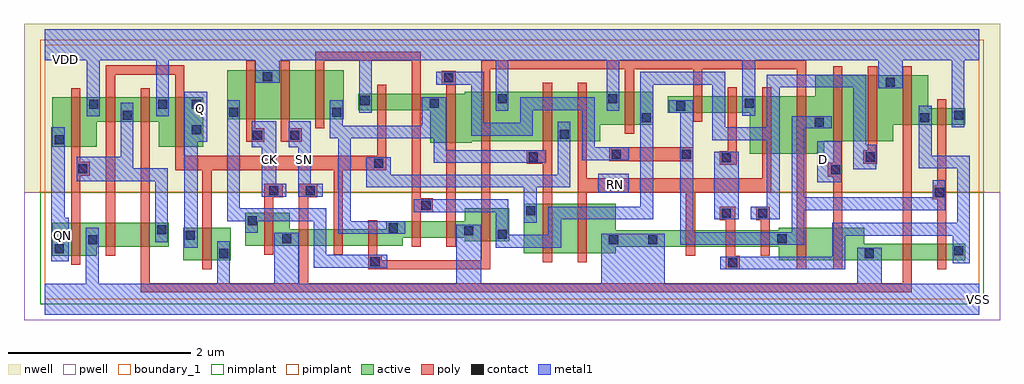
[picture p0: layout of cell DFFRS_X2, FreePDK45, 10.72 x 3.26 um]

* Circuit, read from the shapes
.subckt DFFRS_X2 CK D Q QN RN SN VDD VSS
M1 VSS n1 QN VSUBS nfet w=0.36u l=0.1u
M2 n2 n3 VSS VSUBS nfet w=0.26u l=0.1u
M3 n1 SN n2 VSUBS nfet w=0.26u l=0.1u
M4 VSS n3 Q VSUBS nfet w=0.36u l=0.1u
M5 VSS CK n4 VSUBS nfet w=0.36u l=0.1u
M6 n5 SN VSS VSUBS nfet w=0.18u l=0.1u
M7 n6 n3 n5 VSUBS nfet w=0.18u l=0.1u
M8 n7 n4 n6 VSUBS nfet w=0.18u l=0.1u
M9 n8 n9 n7 VSUBS nfet w=0.18u l=0.1u
M10 VSS n10 n8 VSUBS nfet w=0.18u l=0.1u
M11 n9 n4 VSS VSUBS nfet w=0.36u l=0.1u
M12 n11 n7 n3 VSUBS nfet w=0.54u l=0.1u
M13 VSS RN n11 VSUBS nfet w=0.54u l=0.1u
M14 n12 RN VSS VSUBS nfet w=0.18u l=0.1u
M15 n13 n14 n12 VSUBS nfet w=0.18u l=0.1u
M16 n10 n9 n13 VSUBS nfet w=0.18u l=0.1u
M17 n15 n4 n10 VSUBS nfet w=0.36u l=0.1u
M18 VSS D n15 VSUBS nfet w=0.36u l=0.1u
M19 n16 SN VSS VSUBS nfet w=0.18u l=0.1u
M20 n14 n10 n16 VSUBS nfet w=0.18u l=0.1u
M21 VDD n1 QN n17 pfet w=0.54u l=0.1u
M22 n1 n3 VDD n17 pfet w=0.27u l=0.1u
M23 VDD SN n1 n17 pfet w=0.27u l=0.1u
M24 Q n3 VDD n17 pfet w=0.54u l=0.1u
M25 VDD CK n4 n17 pfet w=0.54u l=0.1u
M26 n18 SN VDD n17 pfet w=0.54u l=0.1u
M27 n7 n9 n18 n17 pfet w=0.54u l=0.1u
M28 n19 n3 VDD n17 pfet w=0.18u l=0.1u
M29 n7 n9 n19 n17 pfet w=0.18u l=0.1u
M30 n20 n10 n7 n17 pfet w=0.54u l=0.1u
M31 VDD n4 n20 n17 pfet w=0.54u l=0.1u
M32 n3 n7 VDD n17 pfet w=0.54u l=0.1u
M33 VDD RN n3 n17 pfet w=0.54u l=0.1u
M34 n9 n4 VDD n17 pfet w=0.36u l=0.1u
M35 n21 n4 n10 n17 pfet w=0.18u l=0.1u
M36 VDD n14 n21 n17 pfet w=0.18u l=0.1u
M37 n22 RN VDD n17 pfet w=0.63u l=0.1u
M38 n10 n4 n22 n17 pfet w=0.63u l=0.1u
M39 n23 D n10 n17 pfet w=0.72u l=0.1u
M40 VDD n9 n23 n17 pfet w=0.72u l=0.1u
M41 n14 SN VDD n17 pfet w=0.54u l=0.1u
M42 VDD n10 n14 n17 pfet w=0.18u l=0.1u
.ends

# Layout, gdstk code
import gdstk
lib = gdstk.Library(unit=1e-6, precision=1e-09)
def R(c, l, rs):  # rectangles x0, y0, x1, y1
    for r in rs: c.add(gdstk.rectangle(r[:2], r[2:], *l))
def P(c, l, *ps):  # polygons
    for p in ps: c.add(gdstk.Polygon(p, *l))
active = (1, 0)
pwell = (2, 0)
nwell = (3, 0)
nimplant = (4, 0)
pimplant = (5, 0)
poly = (9, 0)
contact = (10, 0)
metal1 = (11, 0)
boundary_1 = (235, 1)

dffrs_x2 = lib.new_cell('DFFRS_X2')
R(dffrs_x2, active, [(1.52,0.43,2.04,0.79), (2,1.98,3.28,2.52)])
P(dffrs_x2, active, [(6.84,2.05),(7.74,2.05),(7.74,1.6),(8.56,1.6),(8.56,1.74),(9.32,1.74),(9.32,1.92),(10.11,1.92),(10.11,2.1),(9.7,2.1),(9.7,2.46),(8.46,2.46),(8.46,2.23),(6.84,2.23)],
  [(5.26,0.51),(6.27,0.51),(6.27,0.58),(8.06,0.58),(8.06,0.43),(10.11,0.43),(10.11,0.61),(9,0.61),(9,0.79),(8.06,0.79),(8.06,0.76),(6.27,0.76),(6.27,1.05),(5.26,1.05)],
  [(3.44,2.08),(4.23,2.08),(4.23,1.72),(4.69,1.72),(4.69,1.74),(6.1,1.74),(6.1,1.92),(6.68,1.92),(6.68,2.28),(4.61,2.28),(4.61,2.26),(3.44,2.26)],
  [(2.2,0.59),(3.93,0.59),(3.93,0.68),(4.61,0.68),(4.61,0.64),(5.1,0.64),(5.1,1),(4.61,1),(4.61,0.86),(3.75,0.86),(3.75,0.77),(2.69,0.77),(2.69,0.95),(2.2,0.95)],
  [(0.08,1.68),(0.57,1.68),(0.57,1.95),(1.25,1.95),(1.25,1.68),(1.74,1.68),(1.74,2.22),(0.08,2.22)],
  [(0.08,0.48),(0.57,0.48),(0.57,0.58),(1.36,0.58),(1.36,0.84),(0.08,0.84)])
R(dffrs_x2, pwell, [(-0.23,-0.23,10.49,1.18)])
R(dffrs_x2, nwell, [(-0.23,1.18,10.49,3.03)])
R(dffrs_x2, nimplant, [(-0.05,-0.05,10.31,1.18)])
R(dffrs_x2, pimplant, [(-0.05,1.18,10.31,2.85)])
R(dffrs_x2, poly, [(6.2,1.52,7.12,1.67)])
P(dffrs_x2, poly, [(9.75,1.1),(9.8,1.1),(9.8,0.33),(9.9,0.33),(9.9,2.2),(9.8,2.2),(9.8,1.25),(9.75,1.25)],
  [(1.05,0.08),(9.52,0.08),(9.52,2.56),(9.42,2.56),(9.42,0.18),(2.89,0.18),(2.89,1.12),(2.99,1.12),(2.99,1.27),(2.79,1.27),(2.79,0.18),(1.15,0.18),(1.15,2.32),(1.05,2.32)],
  [(8.99,1.49),(9.14,1.49),(9.14,2.56),(9.04,2.56),(9.04,1.64),(8.99,1.64)],
  [(8.6,1.35),(8.66,1.35),(8.66,0.33),(8.76,0.33),(8.76,2.56),(8.66,2.56),(8.66,1.5),(8.6,1.5)],
  [(3.55,0.33),(4.89,0.33),(4.89,2.53),(6.37,2.53),(6.37,1.82),(6.47,1.82),(6.47,2.53),(7.12,2.53),(7.12,1.95),(7.22,1.95),(7.22,2.53),(8.26,2.53),(8.26,0.33),(8.36,0.33),(8.36,2.63),(4.79,2.63),(4.79,0.43),(3.7,0.43),(3.7,0.49),(3.65,0.49),(3.65,0.87),(3.55,0.87)],
  [(5.85,0.41),(5.95,0.41),(5.95,1.17),(7.04,1.17),(7.04,0.48),(7.14,0.48),(7.14,1.17),(7.98,1.17),(7.98,2.33),(7.88,2.33),(7.88,1.33),(5.95,1.33),(5.95,2.38),(5.85,2.38)],
  [(7.81,0.87),(7.86,0.87),(7.86,0.48),(7.96,0.48),(7.96,1.02),(7.81,1.02)],
  [(7.41,0.87),(7.48,0.87),(7.48,0.33),(7.63,0.33),(7.63,0.48),(7.58,0.48),(7.58,1.02),(7.41,1.02)],
  [(7.41,1.48),(7.6,1.48),(7.6,2.33),(7.5,2.33),(7.5,1.63),(7.41,1.63)],
  [(5.29,1.49),(5.47,1.49),(5.47,0.41),(5.57,0.41),(5.57,2.38),(5.47,2.38),(5.47,1.64),(5.29,1.64)],
  [(4.36,2.36),(4.41,2.36),(4.41,0.58),(4.51,0.58),(4.51,2.51),(4.36,2.51)],
  [(2.97,1.88),(3.07,1.88),(3.07,2.62),(4.03,2.62),(4.03,0.58),(4.13,0.58),(4.13,0.96),(4.26,0.96),(4.26,1.11),(4.13,1.11),(4.13,2.72),(2.97,2.72)],
  [(0.67,0.48),(0.77,0.48),(0.77,2.47),(1.43,2.47),(1.43,1.42),(1.73,1.42),(1.73,0.33),(1.83,0.33),(1.83,1.42),(3.17,1.42),(3.17,0.49),(3.27,0.49),(3.27,1.42),(3.75,1.42),(3.75,2.36),(3.65,2.36),(3.65,1.58),(1.53,1.58),(1.53,2.57),(0.67,2.57)],
  [(2.59,1.73),(2.82,1.73),(2.82,1.88),(2.69,1.88),(2.69,2.62),(2.59,2.62)],
  [(2.41,0.49),(2.51,0.49),(2.51,1.12),(2.61,1.12),(2.61,1.27),(2.41,1.27)],
  [(2.21,1.73),(2.41,1.73),(2.41,1.88),(2.31,1.88),(2.31,2.62),(2.21,2.62)],
  [(0.29,0.38),(0.39,0.38),(0.39,1.36),(0.49,1.36),(0.49,1.51),(0.39,1.51),(0.39,2.32),(0.29,2.32)])
R(dffrs_x2, contact, [(7.505,0.355,7.605,0.455), (3.575,0.365,3.675,0.465), (1.915,0.455,2.015,0.555), (9.005,0.455,9.105,0.555), (9.985,0.485,10.085,0.585), (0.105,0.505,0.205,0.605), (0.475,0.605,0.575,0.705), (6.195,0.605,6.295,0.705), (6.625,0.605,6.725,0.705), (2.605,0.615,2.705,0.715), (8.045,0.615,8.145,0.715), (1.545,0.655,1.645,0.755), (4.975,0.665,5.075,0.765), (4.605,0.705,4.705,0.805), (1.235,0.715,1.335,0.815), (3.775,0.735,3.875,0.835), (2.225,0.815,2.325,0.915), (7.435,0.895,7.535,0.995), (7.835,0.895,7.935,0.995), (5.285,0.925,5.385,1.025), (4.135,0.985,4.235,1.085), (9.775,1.125,9.875,1.225), (2.465,1.145,2.565,1.245), (2.865,1.145,2.965,1.245), (6.205,1.195,6.305,1.295), (8.635,1.375,8.735,1.475), (0.365,1.385,0.465,1.485), (3.615,1.445,3.715,1.545), (7.435,1.505,7.535,1.605), (5.315,1.515,5.415,1.615), (9.015,1.515,9.115,1.615), (6.225,1.545,6.325,1.645), (6.995,1.545,7.095,1.645), (0.105,1.705,0.205,1.805), (2.285,1.755,2.385,1.855), (2.695,1.755,2.795,1.855), (5.655,1.765,5.755,1.865), (1.615,1.815,1.715,1.915), (8.455,1.895,8.555,1.995), (6.555,1.945,6.655,2.045), (9.615,1.945,9.715,2.045), (0.855,1.975,0.955,2.075), (9.985,1.975,10.085,2.075), (2.025,2.005,2.125,2.105), (3.155,2.005,3.255,2.105), (6.935,2.075,7.035,2.175), (0.485,2.095,0.585,2.195), (1.245,2.095,1.345,2.195), (1.615,2.095,1.715,2.195), (4.225,2.105,4.325,2.205), (7.685,2.105,7.785,2.205), (3.465,2.135,3.565,2.235), (4.975,2.155,5.075,2.255), (6.185,2.155,6.285,2.255), (9.235,2.335,9.335,2.435), (4.385,2.385,4.485,2.485), (2.395,2.395,2.495,2.495)])
R(dffrs_x2, metal1, [(7.35,0.88,7.62,1.62), (6.08,1.17,6.41,1.38), (6.08,1.17,6.41,1.38), (8.48,1.29,8.75,1.74), (8.48,1.29,8.75,1.74)])
P(dffrs_x2, metal1, [(2.27,1.67),(2.38,1.67),(2.38,1.13),(2.65,1.13),(2.65,1.27),(2.54,1.27),(2.54,1.96),(2.27,1.96)],
  [(0,-0.17),(10.26,-0.17),(10.26,0.17),(9.19,0.17),(9.19,0.57),(8.92,0.57),(8.92,0.17),(6.81,0.17),(6.81,0.72),(6.11,0.72),(6.11,0.17),(4.79,0.17),(4.79,0.82),(4.52,0.82),(4.52,0.17),(2.79,0.17),(2.79,0.73),(2.52,0.73),(2.52,0.17),(2.03,0.17),(2.03,0.64),(1.89,0.64),(1.89,0.17),(0.59,0.17),(0.59,0.79),(0.45,0.79),(0.45,0.17),(0,0.17)],
  [(1.53,0.57),(1.68,0.57),(1.68,1.73),(1.78,1.73),(1.78,2.28),(1.53,2.28)],
  [(0,2.63),(0.46,2.63),(0.46,2.01),(0.6,2.01),(0.6,2.63),(1.22,2.63),(1.22,2.01),(1.36,2.01),(1.36,2.63),(2.31,2.63),(2.31,2.38),(2.58,2.38),(2.58,2.63),(3.45,2.63),(3.45,2.05),(3.59,2.05),(3.59,2.63),(4.95,2.63),(4.95,2.07),(5.09,2.07),(5.09,2.63),(6.17,2.63),(6.17,2.07),(6.31,2.07),(6.31,2.63),(7.66,2.63),(7.66,2.02),(7.8,2.02),(7.8,2.63),(9.15,2.63),(9.15,2.32),(9.42,2.32),(9.42,2.63),(9.96,2.63),(9.96,1.89),(10.1,1.89),(10.1,2.63),(10.26,2.63),(10.26,2.97),(0,2.97)],
  [(2.68,1.67),(2.78,1.67),(2.78,1.13),(3.05,1.13),(3.05,1.27),(2.92,1.27),(2.92,1.96),(2.68,1.96)],
  [(0.07,0.42),(0.26,0.42),(0.26,0.9),(0.22,0.9),(0.22,1.89),(0.07,1.89)],
  [(0,2.63),(0.46,2.63),(0.46,2.01),(0.6,2.01),(0.6,2.63),(1.22,2.63),(1.22,2.01),(1.36,2.01),(1.36,2.63),(2.31,2.63),(2.31,2.38),(2.58,2.38),(2.58,2.63),(3.45,2.63),(3.45,2.05),(3.59,2.05),(3.59,2.63),(4.95,2.63),(4.95,2.07),(5.09,2.07),(5.09,2.63),(6.17,2.63),(6.17,2.07),(6.31,2.07),(6.31,2.63),(7.66,2.63),(7.66,2.02),(7.8,2.02),(7.8,2.63),(9.15,2.63),(9.15,2.32),(9.42,2.32),(9.42,2.63),(9.96,2.63),(9.96,1.89),(10.1,1.89),(10.1,2.63),(10.26,2.63),(10.26,2.97),(0,2.97)],
  [(0,-0.17),(10.26,-0.17),(10.26,0.17),(9.19,0.17),(9.19,0.57),(8.92,0.57),(8.92,0.17),(6.81,0.17),(6.81,0.72),(6.11,0.72),(6.11,0.17),(4.79,0.17),(4.79,0.82),(4.52,0.82),(4.52,0.17),(2.79,0.17),(2.79,0.73),(2.52,0.73),(2.52,0.17),(2.03,0.17),(2.03,0.64),(1.89,0.64),(1.89,0.17),(0.59,0.17),(0.59,0.79),(0.45,0.79),(0.45,0.17),(0,0.17)],
  [(9.6,1.44),(10.02,1.44),(10.02,0.84),(8.65,0.84),(8.65,0.47),(7.42,0.47),(7.42,0.33),(8.79,0.33),(8.79,0.7),(9.97,0.7),(9.97,0.4),(10.16,0.4),(10.16,1.58),(9.74,1.58),(9.74,2.13),(9.6,2.13)],
  [(6.85,2.05),(6.98,2.05),(6.98,0.6),(8.34,0.6),(8.34,0.98),(9.89,0.98),(9.89,1.31),(9.75,1.31),(9.75,1.12),(8.34,1.12),(8.34,1.88),(8.64,1.88),(8.64,2.01),(8.2,2.01),(8.2,0.74),(7.12,0.74),(7.12,2.19),(6.85,2.19)],
  [(4.05,0.96),(4.95,0.96),(4.95,0.57),(5.67,0.57),(5.67,0.88),(6.68,0.88),(6.68,2.36),(7.33,2.36),(7.33,1.75),(7.93,1.75),(7.93,1.02),(7.75,1.02),(7.75,0.88),(8.07,0.88),(8.07,2.33),(8.88,2.33),(8.88,1.43),(9.13,1.43),(9.13,1.7),(9.02,1.7),(9.02,2.47),(7.93,2.47),(7.93,1.89),(7.47,1.89),(7.47,2.5),(6.54,2.5),(6.54,1.02),(5.53,1.02),(5.53,0.71),(5.09,0.71),(5.09,1.1),(4.05,1.1)],
  [(4.3,2.36),(4.68,2.36),(4.68,1.8),(5.36,1.8),(5.36,2.08),(5.9,2.08),(5.9,1.53),(6.41,1.53),(6.41,1.67),(6.04,1.67),(6.04,2.22),(5.22,2.22),(5.22,1.94),(4.82,1.94),(4.82,2.5),(4.3,2.5)],
  [(3.53,1.23),(5.26,1.23),(5.26,0.84),(5.4,0.84),(5.4,1.23),(5.77,1.23),(5.77,1.95),(5.63,1.95),(5.63,1.37),(3.8,1.37),(3.8,1.56),(3.53,1.56)],
  [(3.36,1.77),(4.27,1.77),(4.27,1.5),(5.5,1.5),(5.5,1.64),(4.41,1.64),(4.41,2.22),(4.14,2.22),(4.14,1.91),(3.27,1.91),(3.27,2.19),(3.13,2.19),(3.13,1.77),(3.22,1.77),(3.22,0.72),(3.96,0.72),(3.96,0.86),(3.36,0.86)],
  [(2,0.86),(2.2,0.86),(2.2,0.73),(2.34,0.73),(2.34,0.86),(2.95,0.86),(2.95,0.35),(3.76,0.35),(3.76,0.49),(3.09,0.49),(3.09,1),(2.14,1),(2.14,2.19),(2,2.19)],
  [(2.68,1.67),(2.78,1.67),(2.78,1.13),(3.05,1.13),(3.05,1.27),(2.92,1.27),(2.92,1.96),(2.68,1.96)],
  [(2.27,1.67),(2.38,1.67),(2.38,1.13),(2.65,1.13),(2.65,1.27),(2.54,1.27),(2.54,1.96),(2.27,1.96)],
  [(1.53,0.57),(1.68,0.57),(1.68,1.73),(1.78,1.73),(1.78,2.28),(1.53,2.28)],
  [(0.35,1.3),(1.21,1.3),(1.21,0.63),(1.35,0.63),(1.35,1.44),(0.97,1.44),(0.97,2.16),(0.83,2.16),(0.83,1.57),(0.35,1.57)],
  [(0.07,0.42),(0.26,0.42),(0.26,0.9),(0.22,0.9),(0.22,1.89),(0.07,1.89)])
R(dffrs_x2, boundary_1, [(0,0,10.26,2.8)])
dffrs_x2.add(gdstk.Label('VSS', (10.25,0), layer=11, texttype=0))
dffrs_x2.add(gdstk.Label('VDD', (0.23,2.64), layer=11, texttype=0))
dffrs_x2.add(gdstk.Label('SN', (2.85,1.54), layer=11, texttype=0))
dffrs_x2.add(gdstk.Label('RN', (6.27,1.26), layer=11, texttype=0))
dffrs_x2.add(gdstk.Label('QN', (0.19,0.7), layer=11, texttype=0))
dffrs_x2.add(gdstk.Label('Q', (1.71,2.1), layer=11, texttype=0))
dffrs_x2.add(gdstk.Label('D', (8.55,1.54), layer=11, texttype=0))
dffrs_x2.add(gdstk.Label('CK', (2.47,1.54), layer=11, texttype=0))

lib.write_gds('DFFRS_X2.gds')
